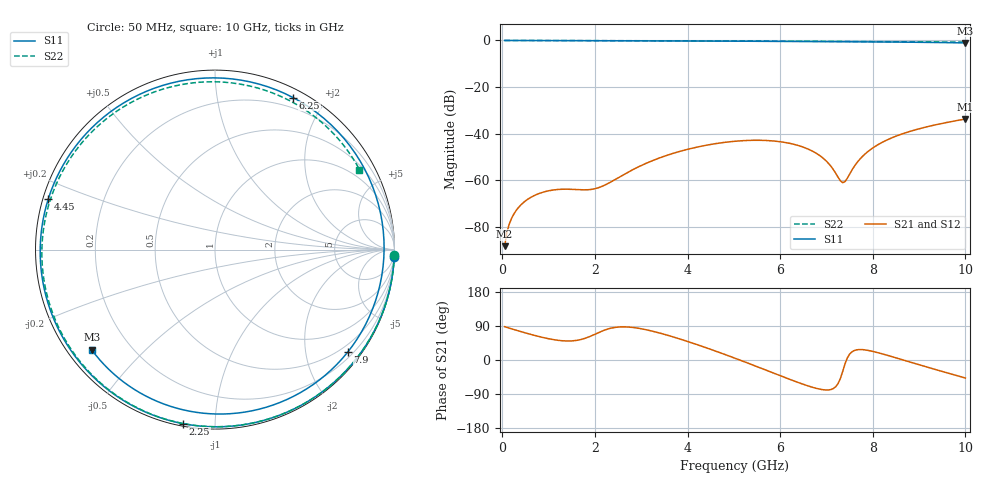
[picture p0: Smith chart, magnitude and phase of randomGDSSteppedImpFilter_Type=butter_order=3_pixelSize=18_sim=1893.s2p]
! freq	dB(S11)	phase(S11)	dB(S12)	phase(S12)
!  dB(S21)	phase(S21)	dB(S22)	phase(S22)
!S-par simulation data
#  GHz  S  DB  R 50
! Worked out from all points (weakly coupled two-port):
!   200 points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, 50 MHz to 10 GHz, reference 50 ohm
!   highest |S21| = -33.70 dB at 10 GHz (marker M1); lowest = -88.2 dB at 50 MHz (marker M2)
!   lowest |S11| = -1.1 dB at 10 GHz (marker M3), VSWR 16.43, Z = 3.42 - j17.7 ohm
!   |S11| at or under -10 dB: nowhere
!   |S22| runs from -0.7 to 0.0 dB; largest |S21 - S12| = 0
!   S11 on the Smith chart (normalised r, x): 50 MHz: 1, -49; 2.25 GHz: 0.01, -0.83; 4.45 GHz: 0.02, +0.15; 6.25 GHz: 0.09, +1.64; 7.9 GHz: 0.32, -2.89; 10 GHz: 0.07, -0.35
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0.05  -0.01 -2.4  -88.23 87.9  -88.23 87.9  -0.00 -1.6
0.15  -0.01 -7.0  -78.77 84.1  -78.77 84.1  -0.01 -4.7
0.4  -0.02 -18.5  -70.57 75.0  -70.57 75.0  -0.01 -12.5
0.7  -0.04 -32.2  -66.43 64.8  -66.43 64.8  -0.03 -21.9
1.25  -0.07 -57.0  -63.85 51.3  -63.85 51.3  -0.05 -38.7
1.75  -0.10 -78.9  -64.06 55.8  -64.06 55.8  -0.07 -53.7
2.25  -0.12 -100.4  -61.69 80.7  -61.69 80.7  -0.09 -68.4
2.8  -0.15 -123.7  -55.61 86.1  -55.61 86.1  -0.11 -84.1
3.4  -0.18 -149.4  -50.35 71.1  -50.35 71.1  -0.13 -100.8
3.95  -0.22 -173.6  -46.95 51.0  -46.95 51.0  -0.15 -115.8
4.45  -0.26 163.0  -44.77 30.3  -44.77 30.3  -0.18 -129.4
5.05  -0.31 132.7  -43.19 3.6  -43.19 3.6  -0.22 -145.7
5.7  -0.37 96.2  -42.90 -27.0  -42.90 -27.0  -0.27 -163.9
6.25  -0.43 62.8  -44.32 -53.0  -44.32 -53.0  -0.31 -180.0
6.7  -0.47 34.4  -47.50 -72.1  -47.50 -72.1  -0.36 166.1
7  -0.49 15.6  -51.81 -79.2  -51.81 -79.2  -0.39 156.4
7.35  -0.53 -5.8  -61.01 -30.5  -61.01 -30.5  -0.43 144.4
7.9  -0.59 -37.7  -47.57 25.3  -47.57 25.3  -0.49 124.2
8.35  -0.66 -61.9  -42.29 11.2  -42.29 11.2  -0.54 106.0
8.75  -0.73 -82.0  -39.33 -3.4  -39.33 -3.4  -0.59 88.7
9.15  -0.82 -101.3  -37.13 -17.9  -37.13 -17.9  -0.63 70.3
10  -1.06 -140.9  -33.70 -47.6  -33.70 -47.6  -0.72 29.0
